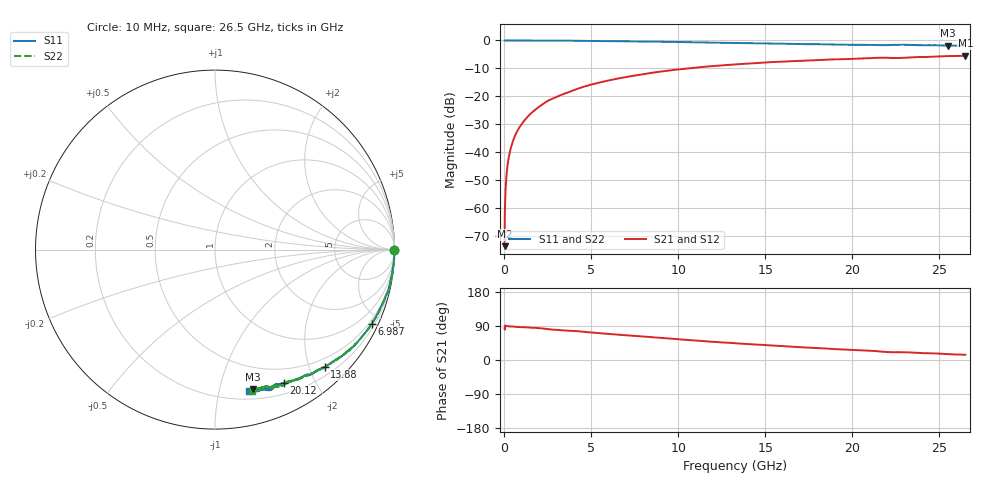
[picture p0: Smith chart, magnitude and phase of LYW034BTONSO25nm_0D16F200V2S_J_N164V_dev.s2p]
!Keysight Technologies,N5222B,MY61253708,A.15.00.15
!Date: Wednesday, June 19, 2024 10:20:02
!Correction: S11(C  2-Port  )
!S21(C  2-Port  )
!S12(C  2-Port  )
!S22(C  2-Port  )
!S2P File: Measurements: S11, S21, S12, S22:
# Hz S  RI  R 50
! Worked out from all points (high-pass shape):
!   2651 points, 10 MHz to 26.5 GHz, reference 50 ohm
!   highest |S21| = -5.42 dB at 26.5 GHz (marker M1); lowest = -73.5 dB at 10 MHz (marker M2)
!   |S21| within 3 dB of the highest: 13.57 GHz to end of sweep
!   lowest |S11| = -1.9 dB at 25.5 GHz (marker M3), VSWR 9.22, Z = 14.4 - j63.4 ohm
!   |S11| at or under -10 dB: nowhere
!   |S22| runs from -1.8 to 0.0 dB; largest |S21 - S12| = 0.0062
!   S11 on the Smith chart (normalised r, x): 10 MHz: open; 6.987 GHz: 0.36, -4.43; 13.88 GHz: 0.34, -2.26; 20.12 GHz: 0.33, -1.59; 26.5 GHz: 0.27, -1.24
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1e7  0.9986 -0.00312  2.35e-05 0.00021  -0.000136 0.000395  0.9985 -0.00169
7.997358e7  0.9999 -0.00565  1.83e-05 0.0026  1.62e-06 0.00262  0.9993 -0.00528
1.499472e8  1 -0.0106  4.94e-05 0.00492  4.55e-05 0.00492  0.9996 -0.0101
1.899321e8  1 -0.0126  8.81e-05 0.00621  8.04e-05 0.00624  0.9998 -0.0119
2.399132e8  0.9996 -0.0162  0.000136 0.00783  0.00012 0.0079  0.9993 -0.0156
3.398755e8  0.9997 -0.0226  0.000282 0.0112  0.000267 0.0112  0.9995 -0.0218
4.598302e8  0.9988 -0.0309  0.000435 0.015  0.000454 0.0151  0.9987 -0.0301
6.197698e8  0.999 -0.0406  0.000799 0.0203  0.000804 0.0203  0.9988 -0.0403
8.096981e8  0.9982 -0.0533  0.00138 0.0263  0.00135 0.0264  0.9976 -0.0524
1.43946e9  0.9909 -0.0955  0.00327 0.047  0.00329 0.047  0.9934 -0.0924
2.329125e9  0.9824 -0.1497  0.00968 0.0769  0.00983 0.0771  0.9835 -0.1502
3.238781e9  0.9713 -0.2069  0.0208 0.1035  0.021 0.1038  0.9722 -0.2059
4.428332e9  0.9443 -0.277  0.0373 0.1398  0.0375 0.1402  0.9459 -0.2744
6.987366e9  0.8734 -0.4126  0.0928 0.2014  0.0938 0.2017  0.8747 -0.4129
8.846664e9  0.8083 -0.4974  0.1417 0.2348  0.1428 0.235  0.8096 -0.4963
1.3255e10  0.6356 -0.6388  0.2674 0.2604  0.2691 0.2598  0.6385 -0.6378
1.388476e10  0.6118 -0.6539  0.284 0.2594  0.2852 0.258  0.6117 -0.6527
1.767333e10  0.466 -0.7204  0.3732 0.2347  0.3762 0.2328  0.4746 -0.718
2.012241e10  0.3831 -0.7417  0.4215 0.2092  0.4246 0.207  0.396 -0.7428
2.209166e10  0.3311 -0.7559  0.4567 0.1743  0.4582 0.1711  0.3231 -0.7616
2.550038e10  0.2116 -0.776  0.5066 0.1387  0.5077 0.138  0.2306 -0.7775
2.65e10  0.192 -0.7902  0.5201 0.1274  0.5195 0.1233  0.2039 -0.7877
